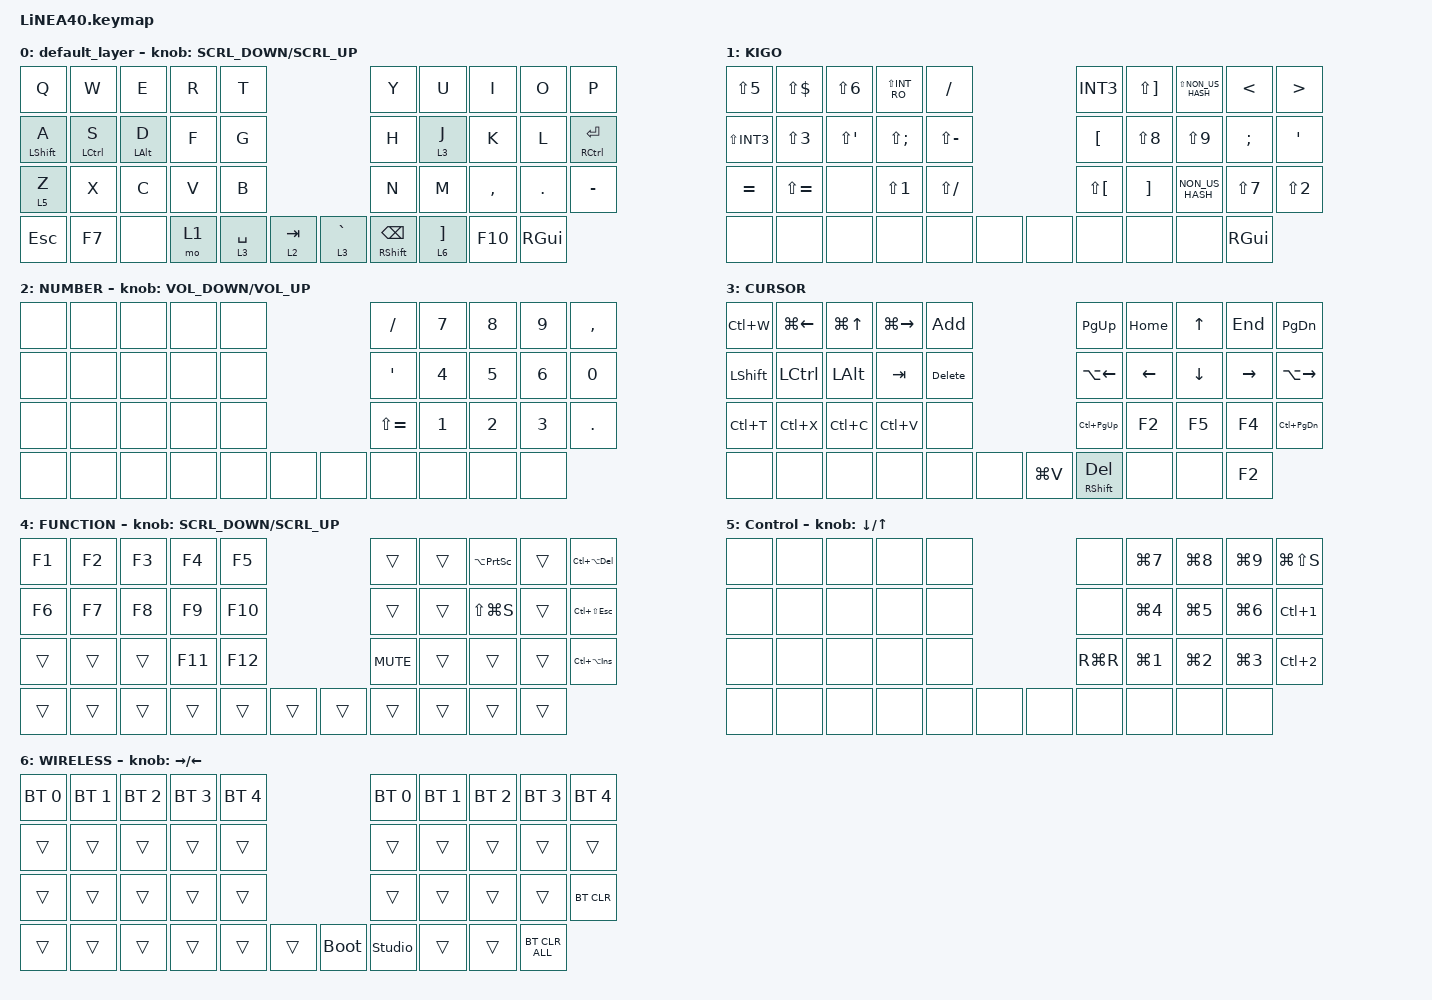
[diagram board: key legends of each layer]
#define ZMK_POINTING_DEFAULT_SCRL_VAL 150

#include <dt-bindings/zmk/input_transform.h>
#include <input/processors.dtsi>
#include <zephyr/dt-bindings/input/input-event-codes.h>
#include <behaviors.dtsi>
#include <dt-bindings/zmk/bt.h>
#include <dt-bindings/zmk/keys.h>
#include <dt-bindings/zmk/pointing.h>

#define MOUSE 1
#define MARK 2
#define CURSOR 3
#define FUNCTION 4
#define SCROLL 5
#define WIRELESS 6

&mt {
    flavor = "tap-preferred";
    tapping-term-ms = <175>;
    quick-tap-ms = <125>;
};

&lt {
    tapping-term-ms = <175>;
    quick-tap-ms = <125>;
    flavor = "tap-preferred";
};

//mouse cursol

&mmv {
    delay-ms = <20>;
    trigger-period-ms = <5>;
    time-to-max-speed-ms = <100>;
    acceleration-exponent = <2>;
};

//mouse scroll

&msc {
    delay-ms = <3>;
    trigger-period-ms = <3>;
    time-to-max-speed-ms = <100>;
    acceleration-exponent = <0>;
};

/ {
    input_processors {
        zip_wheel_scaler: zip_wheel_scaler {
            compatible = "zmk,input-processor-scaler";
            #input-processor-cells = <2>;
            type = <INPUT_EV_REL>;
            codes = <INPUT_REL_WHEEL>;
            track-remainders;
        };
    };
};

&msc_input_listener {
    speed_up {
        layers = <FUNCTION>;
        input-processors = <&zip_wheel_scaler 2 1>; //スクロールを3倍速にする
    };
};

&trackball_listener {
    scroller {
        layers = <SCROLL>;
        input-processors =
            <&zip_xy_transform INPUT_TRANSFORM_Y_INVERT>,
            //スクロール方向を逆転,,,,,,,,,,,,,
            <&zip_xy_to_scroll_mapper>;
    };
};

/ {
    combos {
        compatible = "zmk,combos";

        Function10 {
            bindings = <&kp F10>;
            key-positions = <12 13>;
            timeout-ms = <30>;
        };

        RightClick {
            bindings = <&mkp MB2>;
            key-positions = <7 8>;
            timeout-ms = <30>;
        };

        LeftClick {
            bindings = <&mkp MB1>;
            key-positions = <17 18>;
            timeout-ms = <30>;
        };

        Function7 {
            bindings = <&kp F7>;
            key-positions = <16 17>;
            timeout-ms = <30>;
        };

        hannkakuzennkaku {
            bindings = <&kp GRAVE>;
            key-positions = <34 37>;
            timeout-ms = <30>;
        };
    };

    behaviors {
        re_kp: sensor_rotate_kp {
            compatible = "zmk,behavior-sensor-rotate-var";
            #sensor-binding-cells = <2>;
            bindings = <&kp>, <&kp>;
        };

        mouse_scrl: mouse_wheel_scrl {
            compatible = "zmk,behavior-sensor-rotate-var";
            #sensor-binding-cells = <2>;
            bindings = <&msc>, <&msc>;

            tap-ms = <20>;
        };
    };

    macros {
        Add: Add {
            compatible = "zmk,behavior-macro";
            #binding-cells = <0>;
            bindings =
                <&macro_press>,
                <&kp LCTRL>,
                <&macro_press>,
                <&kp LEFT_SHIFT>,
                <&macro_tap>,
                <&kp SEMICOLON>,
                <&macro_release>,
                <&kp LEFT_SHIFT>,
                <&macro_release>,
                <&kp LCTRL>;

            label = "ADD";
        };

        Delete: Delete {
            compatible = "zmk,behavior-macro";
            #binding-cells = <0>;
            bindings =
                <&macro_press>,
                <&kp LCTRL>,
                <&macro_tap>,
                <&kp MINUS>,
                <&macro_release>,
                <&kp LCTRL>;

            label = "DELETE";
        };
    };

    keymap {
        compatible = "zmk,keymap";

        default_layer {
            bindings = <
&kp Q             &kp W        &kp E           &kp R  &kp T                                  &kp Y                      &kp U    &kp I                &kp O    &kp P
&mt LEFT_SHIFT A  &mt LCTRL S  &mt LEFT_ALT D  &kp F  &kp G                                  &kp H                      &lt 3 J  &kp K                &kp L    &mt RCTRL ENTER
&lt 5 Z           &kp X        &kp C           &kp V  &kp B                                  &kp N                      &kp M    &kp COMMA            &kp DOT  &kp MINUS
&kp ESC           &kp F7       &none           &mo 1  &lt 3 SPACE  &lt 2 TAB    &lt 3 GRAVE  &mt RIGHT_SHIFT BACKSPACE           &lt 6 RIGHT_BRACKET  &kp F10  &kp RGUI
            >;

            sensor-bindings = <&mouse_scrl SCRL_DOWN SCRL_UP>;
        };

        //1

        KIGO {
            bindings = <
&kp LS(N5)    &kp LS(DOLLAR)  &kp LS(N6)            &kp LS(INT_RO)     &kp SLASH                      &kp INT3      &kp LS(RIGHT_BRACKET)  &kp LS(NON_US_HASH)  &kp LESS_THAN  &kp GREATER_THAN
&kp LS(INT3)  &kp LS(N3)      &kp LS(SINGLE_QUOTE)  &kp LS(SEMICOLON)  &kp LS(MINUS)                  &kp LBKT      &kp LS(N8)             &kp LS(N9)           &kp SEMICOLON  &kp SINGLE_QUOTE
&kp EQUAL     &kp LS(EQUAL)   &none                 &kp LS(N1)         &kp LS(SLASH)                  &kp LS(LBKT)  &kp RBKT               &kp NON_US_HASH      &kp LS(N7)     &kp LS(N2)
&none         &none           &none                 &none              &none          &none    &none  &none                                &none                &none          &kp RGUI
            >;
        };

        //2

        NUMBER {
            bindings = <
&none  &none  &none  &none  &none                  &kp SLASH         &kp NUMBER_7  &kp N8        &kp NUMBER_9  &kp COMMA
&none  &none  &none  &none  &none                  &kp SINGLE_QUOTE  &kp NUMBER_4  &kp NUMBER_5  &kp NUMBER_6  &kp NUMBER_0
&none  &none  &none  &none  &none                  &kp LS(EQUAL)     &kp NUMBER_1  &kp NUMBER_2  &kp NUMBER_3  &kp PERIOD
&none  &none  &none  &none  &none  &none    &none  &none                           &none         &none         &none
            >;

            sensor-bindings = <&re_kp C_VOLUME_DOWN C_VOLUME_UP>;
        };

        //3

        CURSOR {
            bindings = <
&kp LC(W)       &kp LG(LEFT_ARROW)  &kp LG(UP_ARROW)  &kp LG(RIGHT_ARROW)  &Add                         &kp PAGE_UP             &kp HOME        &kp UP_ARROW    &kp END          &kp PAGE_DOWN
&kp LEFT_SHIFT  &kp LEFT_CONTROL    &kp LEFT_ALT      &kp TAB              &Delete                      &kp LA(LEFT_ARROW)      &kp LEFT_ARROW  &kp DOWN_ARROW  &kp RIGHT_ARROW  &kp LA(RIGHT_ARROW)
&kp LC(T)       &kp LC(X)           &kp LC(C)         &kp LC(V)            &none                        &kp LC(PAGE_UP)         &kp F2          &kp F5          &kp F4           &kp LC(PAGE_DOWN)
&none           &none               &none             &none                &none    &none    &kp LG(V)  &mt RIGHT_SHIFT DELETE                  &none           &none            &kp F2
            >;
        };

        //4

        FUNCTION {
            bindings = <
&kp F1  &kp F2  &kp F3  &kp F4   &kp F5                     &trans      &trans  &kp LA(PRINTSCREEN)  &trans  &kp LC(LA(DELETE))
&kp F6  &kp F7  &kp F8  &kp F9   &kp F10                    &trans      &trans  &kp LS(LG(S))        &trans  &kp LC(LS(ESCAPE))
&trans  &trans  &trans  &kp F11  &kp F12                    &kp C_MUTE  &trans  &trans               &trans  &kp LC(LA(INS))
&trans  &trans  &trans  &trans   &trans   &trans    &trans  &trans              &trans               &trans  &trans
            >;

            sensor-bindings = <&mouse_scrl SCRL_DOWN SCRL_UP>;
        };

        //5

        Control {
            bindings = <
&none  &none  &none  &none  &none                  &none      &kp LG(NUMBER_7)  &kp LG(NUMBER_8)  &kp LG(NUMBER_9)  &kp LG(LS(S))
&none  &none  &none  &none  &none                  &none      &kp LG(NUMBER_4)  &kp LG(NUMBER_5)  &kp LG(NUMBER_6)  &kp LC(NUMBER_1)
&none  &none  &none  &none  &none                  &kp RG(R)  &kp LG(NUMBER_1)  &kp LG(NUMBER_2)  &kp LG(NUMBER_3)  &kp LC(NUMBER_2)
&none  &none  &none  &none  &none  &none    &none  &none                        &none             &none             &none
            >;

            sensor-bindings = <&inc_dec_kp DOWN_ARROW UP_ARROW>;
        };

        //6

        WIRELESS {
            bindings = <
&bt BT_SEL 0  &bt BT_SEL 1  &bt BT_SEL 2  &bt BT_SEL 3  &bt BT_SEL 4                         &bt BT_SEL 0    &bt BT_SEL 1  &bt BT_SEL 2  &bt BT_SEL 3  &bt BT_SEL 4
&trans        &trans        &trans        &trans        &trans                               &trans          &trans        &trans        &trans        &trans
&trans        &trans        &trans        &trans        &trans                               &trans          &trans        &trans        &trans        &bt BT_CLR
&trans        &trans        &trans        &trans        &trans        &trans    &bootloader  &studio_unlock                &trans        &trans        &bt BT_CLR_ALL
            >;

            sensor-bindings = <&inc_dec_kp RIGHT_ARROW LEFT_ARROW>;
        };
    };
};
